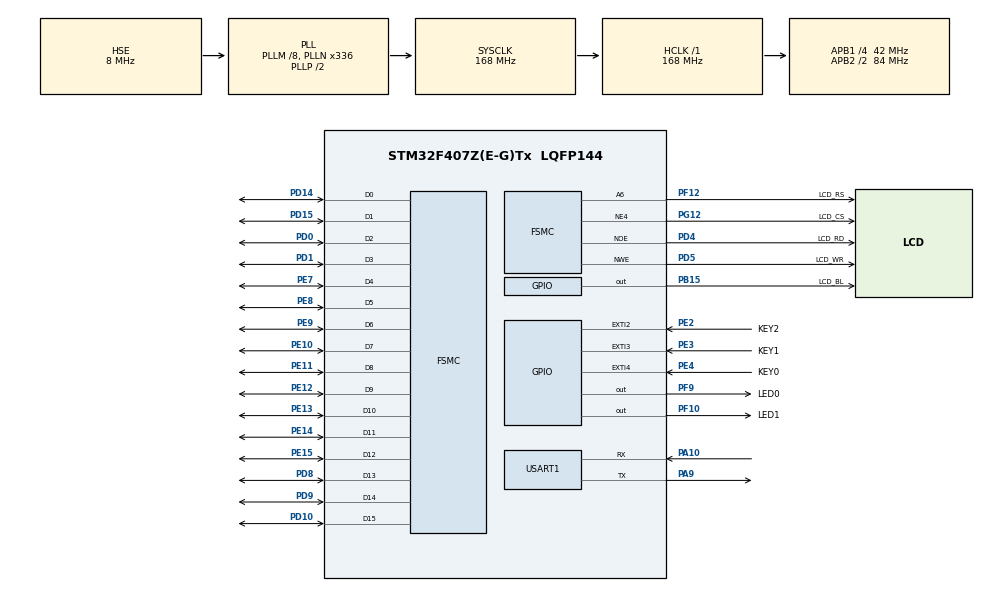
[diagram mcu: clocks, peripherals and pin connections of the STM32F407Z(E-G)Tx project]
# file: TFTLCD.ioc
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FSMC.DataSetupTime2=60
FSMC.ExtendedAddressSetupTime2=9
FSMC.ExtendedDataSetupTime2=9
FSMC.ExtendedMode2=FSMC_EXTENDED_MODE_ENABLE
Mcu.Family=STM32F4
Mcu.Name=STM32F407Z(E-G)Tx
Mcu.Package=LQFP144
NVIC.EXTI2_IRQn=true\:1\:1\:true\:false\:true\:true\:true
NVIC.EXTI3_IRQn=true\:1\:1\:true\:false\:true\:true\:true
NVIC.EXTI4_IRQn=true\:1\:1\:true\:false\:true\:true\:true
NVIC.PriorityGroup=NVIC_PRIORITYGROUP_2
PA10.Mode=Asynchronous
PA10.Signal=USART1_RX
PA13.Mode=Serial_Wire
PA13.Signal=SYS_JTMS-SWDIO
PA14.Mode=Serial_Wire
PA14.Signal=SYS_JTCK-SWCLK
PA9.Mode=Asynchronous
PA9.Signal=USART1_TX
PB15.GPIO_Label=LCD_BL
PB15.GPIO_PuPd=GPIO_PULLDOWN
PB15.GPIO_Speed=GPIO_SPEED_FREQ_HIGH
PB15.PinState=GPIO_PIN_SET
PB15.Signal=GPIO_Output
PD0.Signal=FSMC_D2_DA2
PD1.Signal=FSMC_D3_DA3
PD10.Signal=FSMC_D15_DA15
PD14.Signal=FSMC_D0_DA0
PD15.Signal=FSMC_D1_DA1
PD4.GPIO_Label=LCD_RD
PD4.GPIO_PuPd=GPIO_PULLUP
PD4.Signal=FSMC_NOE
PD5.GPIO_Label=LCD_WR
PD5.GPIO_PuPd=GPIO_PULLUP
PD5.Signal=FSMC_NWE
PD8.Signal=FSMC_D13_DA13
PD9.Signal=FSMC_D14_DA14
PE10.Signal=FSMC_D7_DA7
PE11.Signal=FSMC_D8_DA8
PE12.Signal=FSMC_D9_DA9
PE13.Signal=FSMC_D10_DA10
PE14.Signal=FSMC_D11_DA11
PE15.Signal=FSMC_D12_DA12
PE2.GPIO_Label=KEY2
PE2.GPIO_ModeDefaultEXTI=GPIO_MODE_IT_FALLING
PE2.GPIO_PuPd=GPIO_PULLUP
PE2.Signal=GPXTI2
PE3.GPIO_Label=KEY1
PE3.GPIO_ModeDefaultEXTI=GPIO_MODE_IT_FALLING
PE3.GPIO_PuPd=GPIO_PULLUP
PE3.Signal=GPXTI3
PE4.GPIO_Label=KEY0
PE4.GPIO_ModeDefaultEXTI=GPIO_MODE_IT_FALLING
PE4.GPIO_PuPd=GPIO_PULLUP
PE4.Signal=GPXTI4
PE7.Signal=FSMC_D4_DA4
PE8.Signal=FSMC_D5_DA5
PE9.Signal=FSMC_D6_DA6
PF10.GPIO_Label=LED1
PF10.GPIO_ModeDefaultOutputPP=GPIO_MODE_OUTPUT_PP
PF10.GPIO_PuPd=GPIO_PULLUP
PF10.GPIO_Speed=GPIO_SPEED_FREQ_HIGH
PF10.PinState=GPIO_PIN_SET
PF10.Signal=GPIO_Output
PF12.GPIO_Label=LCD_RS
PF12.GPIO_PuPd=GPIO_PULLUP
PF12.Signal=FSMC_A6
PF9.GPIO_Label=LED0
PF9.GPIO_PuPd=GPIO_PULLUP
PF9.GPIO_Speed=GPIO_SPEED_FREQ_HIGH
PF9.PinState=GPIO_PIN_SET
PF9.Signal=GPIO_Output
PG12.GPIO_Label=LCD_CS
PG12.GPIO_PuPd=GPIO_PULLUP
PG12.Mode=NorPsramChipSelect4_2
PG12.Signal=FSMC_NE4
PH0-OSC_IN.Mode=HSE-External-Oscillator
PH0-OSC_IN.Signal=RCC_OSC_IN
PH1-OSC_OUT.Mode=HSE-External-Oscillator
PH1-OSC_OUT.Signal=RCC_OSC_OUT
ProjectManager.HeapSize=0x200
ProjectManager.StackSize=0x400
ProjectManager.TargetToolchain=MDK-ARM V5
RCC.48MHZClocksFreq_Value=84000000
RCC.AHBFreq_Value=168000000
RCC.APB1CLKDivider=RCC_HCLK_DIV4
RCC.APB1Freq_Value=42000000
RCC.APB1TimFreq_Value=84000000
RCC.APB2CLKDivider=RCC_HCLK_DIV2
RCC.APB2Freq_Value=84000000
RCC.APB2TimFreq_Value=168000000
RCC.CortexFreq_Value=168000000
RCC.HCLKFreq_Value=168000000
RCC.HSE_VALUE=8000000
RCC.HSI_VALUE=16000000
RCC.LSE_VALUE=32768
RCC.PLLM=8
RCC.PLLN=336
RCC.PLLSourceVirtual=RCC_PLLSOURCE_HSE
RCC.SYSCLKFreq_VALUE=168000000
RCC.SYSCLKSource=RCC_SYSCLKSOURCE_PLLCLK
RCC.VCOOutputFreq_Value=336000000
SH.FSMC_A6.0=FSMC_A6,A6_2
SH.FSMC_D0_DA0.0=FSMC_D0,16b-d2
SH.FSMC_D10_DA10.0=FSMC_D10,16b-d2
SH.FSMC_D11_DA11.0=FSMC_D11,16b-d2
SH.FSMC_D12_DA12.0=FSMC_D12,16b-d2
SH.FSMC_D13_DA13.0=FSMC_D13,16b-d2
SH.FSMC_D14_DA14.0=FSMC_D14,16b-d2
SH.FSMC_D15_DA15.0=FSMC_D15,16b-d2
SH.FSMC_D1_DA1.0=FSMC_D1,16b-d2
SH.FSMC_D2_DA2.0=FSMC_D2,16b-d2
SH.FSMC_D3_DA3.0=FSMC_D3,16b-d2
SH.FSMC_D4_DA4.0=FSMC_D4,16b-d2
SH.FSMC_D5_DA5.0=FSMC_D5,16b-d2
SH.FSMC_D6_DA6.0=FSMC_D6,16b-d2
SH.FSMC_D7_DA7.0=FSMC_D7,16b-d2
SH.FSMC_D8_DA8.0=FSMC_D8,16b-d2
SH.FSMC_D9_DA9.0=FSMC_D9,16b-d2
SH.FSMC_NOE.0=FSMC_NOE,Lcd2
SH.FSMC_NWE.0=FSMC_NWE,Lcd2
USART1.VirtualMode=VM_ASYNC
board=custom

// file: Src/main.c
/* USER CODE BEGIN Header */
/**
  ******************************************************************************
  * @file           : main.c
  * @brief          : Main program body
  ******************************************************************************
  * @attention
  *
  * <h2><center>&copy; Copyright (c) 2024 STMicroelectronics.
  * All rights reserved.</center></h2>
  *
  * This software component is licensed by ST under BSD 3-Clause license,
  * the "License"; You may not use this file except in compliance with the
  * License. You may obtain a copy of the License at:
  *                        opensource.org/licenses/BSD-3-Clause
  *
  ******************************************************************************
  */
/* USER CODE END Header */

#include "main.h"
#include "usart.h"
#include "gpio.h"
#include "fsmc.h"

/* USER CODE BEGIN Includes */
#include "delay.h"
#include "lcd.h"
#include "exti.h"
/* USER CODE END Includes */

/* USER CODE BEGIN PV */
uint8_t lcd_id[12];
uint16_t colors[12] = {WHITE, BLACK, BLUE, RED, MAGENTA, GREEN, CYAN, YELLOW, BRRED, GRAY, LGRAY, BROWN};
uint8_t color_index = 0;
uint8_t cur_brightness;
uint8_t* str[23];
/* USER CODE END PV */

void SystemClock_Config(void);

int main(void)
{

  /* MCU Configuration--------------------------------------------------------*/

  /* Reset of all peripherals, Initializes the Flash interface and the Systick. */
  HAL_Init();

  /* Configure the system clock */
  SystemClock_Config();

  /* Initialize all configured peripherals */
  MX_GPIO_Init();
  MX_USART1_UART_Init();
  MX_FSMC_Init();
  /* USER CODE BEGIN 2 */
	delay_init(168);
	lcd_init();                             /* 初始化LCD */
  g_point_color = RED;
  sprintf((char *)lcd_id, "LCD ID:%04X", lcddev.id);  /* 将LCD ID打印到lcd_id数组 */
	//HAL_GPIO_WritePin(LED1_GPIO_Port, LED1_Pin, GPIO_PIN_RESET);  //LED1亮
	lcd_set_backlight_by_pwm(0xFF); // 设置占空比为255，开启背光最亮
  /* USER CODE END 2 */

  /* Infinite loop */
  /* USER CODE BEGIN WHILE */
  while (1)
  {
		lcd_clear(colors[color_index]);  //清屏

		cur_brightness = lcd_get_backlight_by_pwm(); //获取当前背光值
		sprintf((char*)str, "current brightness:%3u", cur_brightness);

		lcd_show_string(10, 40, 240, 32, 32, "STM32", RED);
		lcd_show_string(10, 80, 240, 24, 24, "TFTLCD TEST", RED);
		lcd_show_string(10, 110, 240, 16, 16, "ATOM@ALIENTEK", RED);
		lcd_show_string(10, 130, 240, 16, 16, (char *)lcd_id, RED); /* 显示LCD ID */
		lcd_show_string(10, 150, 240, 16, 16, (char *)str, RED); /* 显示LCD ID */
		color_index++;

		if (color_index == 12){
				color_index = 0;
		}
		HAL_GPIO_TogglePin(LED0_GPIO_Port, LED0_Pin); /* LED0闪烁 */

		HAL_Delay(1000);
    /* USER CODE END WHILE */

  }
}

void SystemClock_Config(void)
{
  RCC_OscInitTypeDef RCC_OscInitStruct = {0};
  RCC_ClkInitTypeDef RCC_ClkInitStruct = {0};

  /** Configure the main internal regulator output voltage
  */
  __HAL_RCC_PWR_CLK_ENABLE();
  __HAL_PWR_VOLTAGESCALING_CONFIG(PWR_REGULATOR_VOLTAGE_SCALE1);
  /** Initializes the CPU, AHB and APB busses clocks
  */
  RCC_OscInitStruct.OscillatorType = RCC_OSCILLATORTYPE_HSE;
  RCC_OscInitStruct.HSEState = RCC_HSE_ON;
  RCC_OscInitStruct.PLL.PLLState = RCC_PLL_ON;
  RCC_OscInitStruct.PLL.PLLSource = RCC_PLLSOURCE_HSE;
  RCC_OscInitStruct.PLL.PLLM = 8;
  RCC_OscInitStruct.PLL.PLLN = 336;
  RCC_OscInitStruct.PLL.PLLP = RCC_PLLP_DIV2;
  RCC_OscInitStruct.PLL.PLLQ = 4;
  if (HAL_RCC_OscConfig(&RCC_OscInitStruct) != HAL_OK)
  {
    Error_Handler();
  }
  /** Initializes the CPU, AHB and APB busses clocks
  */
  RCC_ClkInitStruct.ClockType = RCC_CLOCKTYPE_HCLK|RCC_CLOCKTYPE_SYSCLK
                              |RCC_CLOCKTYPE_PCLK1|RCC_CLOCKTYPE_PCLK2;
  RCC_ClkInitStruct.SYSCLKSource = RCC_SYSCLKSOURCE_PLLCLK;
  RCC_ClkInitStruct.AHBCLKDivider = RCC_SYSCLK_DIV1;
  RCC_ClkInitStruct.APB1CLKDivider = RCC_HCLK_DIV4;
  RCC_ClkInitStruct.APB2CLKDivider = RCC_HCLK_DIV2;

  if (HAL_RCC_ClockConfig(&RCC_ClkInitStruct, FLASH_LATENCY_5) != HAL_OK)
  {
    Error_Handler();
  }
}

void Error_Handler(void)
{
}

/************************ (C) COPYRIGHT STMicroelectronics *****END OF FILE****/
